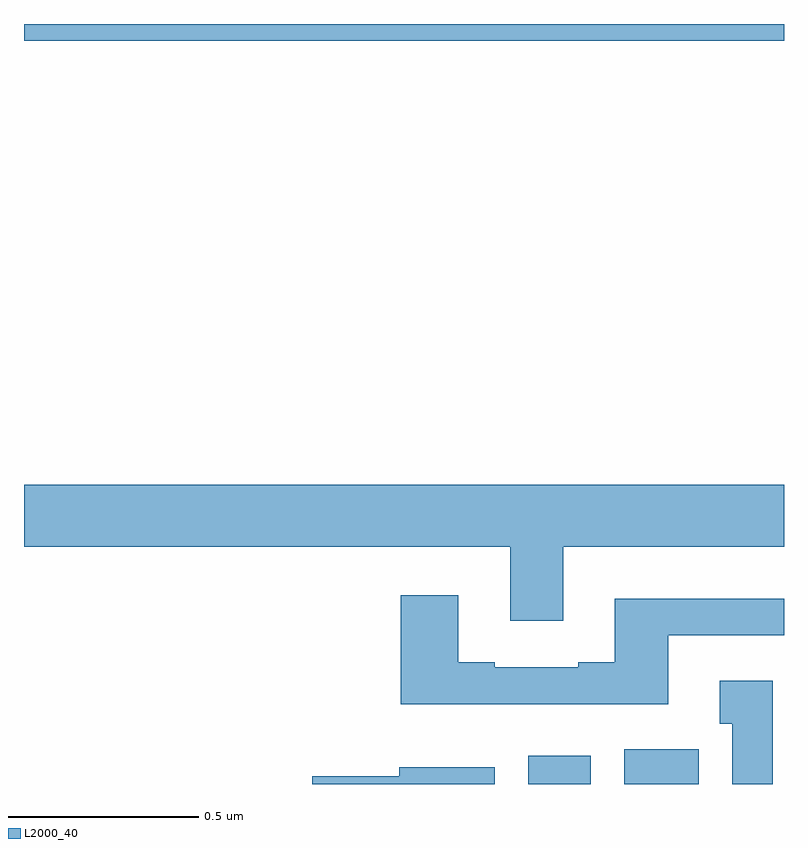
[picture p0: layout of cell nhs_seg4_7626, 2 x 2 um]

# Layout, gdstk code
import gdstk
lib = gdstk.Library(unit=1e-6, precision=1e-09)
def R(c, l, rs):  # rectangles x0, y0, x1, y1
    for r in rs: c.add(gdstk.rectangle(r[:2], r[2:], *l))
def P(c, l, *ps):  # polygons
    for p in ps: c.add(gdstk.Polygon(p, *l))
L2000_40 = (2000, 40)

nhs_seg4_7626 = lib.new_cell('nhs_seg4_7626')
R(nhs_seg4_7626, L2000_40, [(206.327,758.9,206.491,758.974), (206.579,758.9,206.776,758.992), (205,760.856,207,760.9)])
P(nhs_seg4_7626, L2000_40, [(206.419,759.524),(207,759.524),(207,759.688),(205,759.688),(205,759.524),(206.279,759.524),(206.279,759.33),(206.419,759.33)],
  [(206.695,759.291),(207,759.291),(207,759.388),(206.555,759.388),(206.555,759.22),(206.459,759.22),(206.459,759.207),(206.239,759.207),(206.239,759.22),(206.143,759.22),(206.143,759.397),(205.991,759.397),(205.991,759.11),(206.695,759.11)],
  [(206.971,759.172),(206.831,759.172),(206.831,759.059),(206.864,759.059),(206.864,758.9),(206.971,758.9)],
  [(206.239,758.944),(205.988,758.944),(205.988,758.921),(205.758,758.921),(205.758,758.9),(206.239,758.9)])

lib.write_gds('nhs_seg4_7626.gds')
